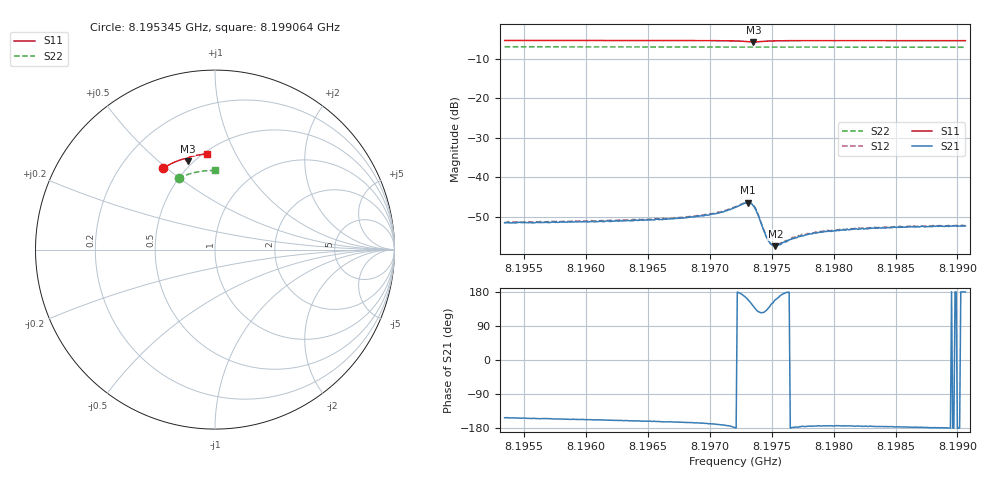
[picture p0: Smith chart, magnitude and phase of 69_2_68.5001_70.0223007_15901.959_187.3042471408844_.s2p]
#  HZ  S  RI  R  50.00
! Rohde & Schwarz Vector Network Analyzer
! Rohde-Schwarz,ZNB20-2Port,1311601062101988,3.16
! Created: UTC 3/20/2024, 4:51:40 PM
! freq[Hz]  re:S11  im:S11  re:S21  im:S21  re:S12  im:S12  re:S22  im:S22
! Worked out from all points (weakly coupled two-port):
!   401 points, 8.195345 GHz to 8.199064 GHz, reference 50 ohm
!   highest |S21| = -46.34 dB at 8.197307 GHz (marker M1); lowest = -57.4 dB at 8.19753 GHz (marker M2)
!   lowest |S11| = -5.8 dB at 8.197353 GHz (marker M3), VSWR 3.12, Z = 23.4 + j31.3 ohm
!   |S11| at or under -10 dB: nowhere
!   |S22| runs from -7.1 to -7.0 dB; largest |S21 - S12| = 0.00028
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8.195345e9  -0.2874 0.4544  -0.00236 -0.00123  -0.00244 -0.00117  -0.2031 0.3981
8.1959679e9  -0.2486 0.4762  -0.00253 -0.00107  -0.00263 -0.00099  -0.1711 0.4118
8.1965908e9  -0.2076 0.4948  -0.00278 -0.000891  -0.00291 -0.000808  -0.1381 0.423
8.196972e9  -0.1802 0.5039  -0.00327 -0.000747  -0.00334 -0.000597  -0.1173 0.4285
8.1970928e9  -0.1701 0.5062  -0.00358 -0.000585  -0.00365 -0.00045  -0.1106 0.43
8.1972044e9  -0.1589 0.5061  -0.00417 -0.000107  -0.00427 6.67e-05  -0.1044 0.4313
8.1973067e9  -0.1496 0.4978  -0.00453 0.00164  -0.0045 0.00184  -0.0986 0.4323
8.1973253e9  -0.1499 0.4949  -0.00426 0.00214  -0.00422 0.00236  -0.0978 0.4324
8.1973532e9  -0.153 0.4916  -0.0034 0.0027  -0.00339 0.00296  -0.0964 0.4326
8.197381e9  -0.1575 0.4918  -0.00236 0.00276  -0.00231 0.00291  -0.0949 0.4328
8.1974368e9  -0.1609 0.4994  -0.00123 0.00173  -0.00119 0.00183  -0.092 0.4337
8.197474e9  -0.1592 0.504  -0.00115 0.00106  -0.00113 0.00112  -0.0899 0.4341
8.1975019e9  -0.1572 0.5067  -0.00121 0.000717  -0.00117 0.000796  -0.0885 0.4344
8.1975298e9  -0.1549 0.5087  -0.00126 0.000484  -0.00128 0.000576  -0.0869 0.4347
8.1975577e9  -0.1524 0.5106  -0.00136 0.000342  -0.0014 0.000376  -0.0853 0.4351
8.1976507e9  -0.1447 0.5143  -0.00165 -4.1e-06  -0.00166 7.02e-05  -0.0802 0.4358
8.1977343e9  -0.1379 0.5166  -0.0018 -0.000124  -0.00183 -4.7e-05  -0.0753 0.4366
8.1978273e9  -0.1307 0.5189  -0.00193 -0.000183  -0.00198 -0.000113  -0.0701 0.4372
8.1979482e9  -0.1218 0.5212  -0.00207 -0.000235  -0.00213 -0.000141  -0.0635 0.4381
8.1981806e9  -0.1049 0.5247  -0.00224 -0.000221  -0.00228 -0.000115  -0.0504 0.4395
8.1984502e9  -0.0856 0.5281  -0.0023 -0.000165  -0.00235 -6.45e-05  -0.0351 0.4403
8.1990638e9  -0.0419 0.5328  -0.00243 2.24e-05  -0.00245 0.000106  -0.000487 0.4408
